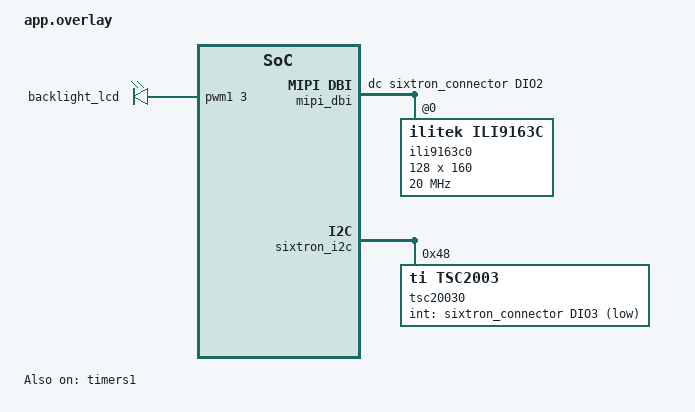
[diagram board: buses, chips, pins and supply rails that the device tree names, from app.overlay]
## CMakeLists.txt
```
# SPDX-License-Identifier: Apache-2.0

cmake_minimum_required(VERSION 3.20.0)

set(SHIELD zest_display_lcd)
find_package(Zephyr REQUIRED HINTS $ENV{ZEPHYR_BASE})
project(blinky)

target_sources(app PRIVATE src/main.c)
```

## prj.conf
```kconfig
CONFIG_MAIN_STACK_SIZE=4096
CONFIG_LV_Z_MEM_POOL_SIZE=16384

CONFIG_DISPLAY=y
CONFIG_DISPLAY_LOG_LEVEL_INF=y

CONFIG_GPIO=y
CONFIG_LOG=y
CONFIG_PWM=y
CONFIG_LVGL=y


# TOUCH SCREEN
CONFIG_INPUT=y
CONFIG_TSC2003_DEBOUNCE_MS=200
CONFIG_INPUT_GPIO_KEYS=n
CONFIG_INPUT_LOG_LEVEL_INF=y

# Floating point support
CONFIG_NEWLIB_LIBC=y
CONFIG_NEWLIB_LIBC_FLOAT_PRINTF=y
CONFIG_CBPRINTF_FP_SUPPORT=y
```

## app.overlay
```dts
/*
 * Copyright (c) 2024, CATIE
 * SPDX-License-Identifier: Apache-2.0
 */

 #include <zephyr/dt-bindings/input/input-event-codes.h>
 #include <zephyr/dt-bindings/lvgl/lvgl.h>
 #include <zephyr/dt-bindings/gpio/sixtron-header.h>
 #include <zephyr/dt-bindings/display/ili9xxx.h>
 #include <zephyr/dt-bindings/gpio/sixtron-header.h>
 
  &timers1 {
	 status = "okay";
	 st,prescaler = <1000>;
 };
 
 / {
	 aliases {
		 pwm-dev-0 = &pwm1;
	 };
	 pwm_devices {
		 status = "okay";
		 compatible = "pwm-leds";
 
		 backlight_lcd: pwm_dev_0 {
			 status = "okay";
			 pwms = <&pwm1 3 2000000 PWM_POLARITY_NORMAL>;
		 };
	 };
 };

	&sixtron_i2c {
	 status = "okay";
 
	 tsc20030: tsc2003@48 {  
        compatible = "ti,tsc2003";
        reg = <0x48>;  
        /* Define PENIRQ for touch detection if needed */
        int-gpios = <&sixtron_connector DIO3 GPIO_ACTIVE_LOW>;  /* D3 */ 
        screen_width = <128>;
        screen_height = <160>;
        inverted_x;
        inverted_y;
        swapped_x_y;
	 };
 };

 / {
	 chosen {
		 zephyr,display = &ili9163c0;
		 zephyr,touch = &tsc20030;
	 };
 
	 mipi_dbi {
		 compatible = "zephyr,mipi-dbi-spi";
		 dc-gpios = <&sixtron_connector DIO2 GPIO_ACTIVE_HIGH>;  /* Data/Command */
		 spi-dev = <&sixtron_spi>;
		 #address-cells = <1>;
		 #size-cells = <0>;
		 write-only;
 
		 ili9163c0: ili9163c@0 {
			 compatible = "ilitek,ili9163c";
			 mipi-max-frequency = <20000000>;  // 20MHz
			 reg = <0>;
			 pixel-format = <1>;
			 width = <128>;  
			 height = <160>;  
			 rotation = <90>;
			 madctl = [00];
			 frmctr1 = [08 08];
			 pgamctrl = [3F 25 1C 1E 20 12 2A 90 24 11 00 00 00 00 00];
			 ngamctrl = [20 20 20 20 05 00 15 A7 3D 18 25 2A 2B 2B 3A];
			 pwctrl1 = [0A 02];
			 pwctrl2 = [02];
			 vmctrl1 = [55 60];
			 vmctrl2 = [45];
			 gamset = [04];  
			 gamadj = [01];    
			 dispinv = [07];    
		 };
	 };
 };
```

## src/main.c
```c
/*
 * Copyright (c) 2024, CATIE
 * SPDX-License-Identifier: Apache-2.0
 */

#include <inttypes.h>
#include <lvgl.h>
#include <stdio.h>
#include <string.h>
#include <zephyr/device.h>
#include <zephyr/devicetree.h>
#include <zephyr/drivers/display.h>
#include <zephyr/drivers/gpio.h>
#include <zephyr/drivers/pwm.h>
#include <zephyr/input/input.h>
#include <zephyr/kernel.h>
#include <zephyr/logging/log.h>
#include <zephyr/sys/util.h>
#include <zephyr/sys/printk.h>
#include <math.h>

LOG_MODULE_REGISTER(calibration_app, LOG_LEVEL_INF);

#define REFRESH_RATE 10
#define BACKLIGHT_MAX_BRIGHTNESS 1000000
#define BACKLIGHT_MIN_BRIGHTNESS 0
#define CALIBRATION_POINTS 5
 
struct calibration_coeff {
    double a, b;
};

static struct calibration_coeff cal_coeff_x, cal_coeff_y;

struct calibration_points {
    int16_t raw_x[CALIBRATION_POINTS];
    int16_t raw_y[CALIBRATION_POINTS];
    int16_t screen_x[CALIBRATION_POINTS];
    int16_t screen_y[CALIBRATION_POINTS];
};

static struct calibration_points calib_points = {
    .screen_x = {64, 20, 108, 108, 20},
    .screen_y = {80, 20, 20, 140, 140}
};

static bool is_calibration_mode = false;
static int point_index = 0;
static lv_obj_t *hello_world_label;
static lv_obj_t *cross_label;

static int direction = 1;
static int period = 1000000;
static int increment = 10000;
static int ratio = BACKLIGHT_MAX_BRIGHTNESS;

static const struct pwm_dt_spec pwm_dev =
    PWM_DT_SPEC_GET(DT_NODELABEL(backlight_lcd));
static const struct device *const touch_dev =
    DEVICE_DT_GET(DT_NODELABEL(tsc20030));

static struct k_sem sync;
static struct {
    size_t x;
    size_t y;
    bool pressed;
} touch_point;

#define SW0_NODE DT_ALIAS(sw0)
#if !DT_NODE_HAS_STATUS(SW0_NODE, okay)
#error "Unsupported board: sw0 devicetree alias is not defined"
#endif

static const struct gpio_dt_spec button =
    GPIO_DT_SPEC_GET_OR(SW0_NODE, gpios, {0});
static struct gpio_callback button_cb_data;

static const struct device *const display_dev =
    DEVICE_DT_GET(DT_CHOSEN(zephyr_display));

static void draw_calibration_marker(int x, int y) {
    printk("MOUVE: X=[%d] Y=[%d]\n", x, y);
    lv_obj_align(cross_label, LV_ALIGN_TOP_LEFT, x, y);
}

void calculate_calibration_coefficients(void) {
    double sum_raw_x = 0, sum_raw_y = 0;
    double sum_screen_x = 0, sum_screen_y = 0;
    double sum_raw_x_screen_x = 0, sum_raw_y_screen_y = 0;
    double sum_raw_x_squared = 0, sum_raw_y_squared = 0;

    for (int i = 0; i < CALIBRATION_POINTS; i++) {
    sum_raw_x = sum_raw_x + calib_points.raw_x[i];
    sum_raw_y = sum_raw_y + calib_points.raw_y[i];
    sum_screen_x = sum_screen_x + calib_points.screen_x[i];
    sum_screen_y = sum_screen_y + calib_points.screen_y[i];
    sum_raw_x_screen_x = sum_raw_x_screen_x + calib_points.raw_x[i] * calib_points.screen_x[i];
    sum_raw_y_screen_y = sum_raw_y_screen_y + calib_points.raw_y[i] * calib_points.screen_y[i];
    sum_raw_x_squared = sum_raw_x_squared + calib_points.raw_x[i] * calib_points.raw_x[i];
    sum_raw_y_squared = sum_raw_y_squared + calib_points.raw_y[i] * calib_points.raw_y[i];
    }

    double denominator_x = CALIBRATION_POINTS * sum_raw_x_squared - sum_raw_x * sum_raw_x;
    double denominator_y = CALIBRATION_POINTS * sum_raw_y_squared - sum_raw_y * sum_raw_y;

    if (denominator_x == 0 || denominator_y == 0) {
        printk("Error : Retry calibration.\n");
        return;
    }

    cal_coeff_x.a = (CALIBRATION_POINTS * sum_raw_x_screen_x - sum_raw_x * sum_screen_x) / denominator_x;
    cal_coeff_x.b = (sum_screen_x * sum_raw_x_squared - sum_raw_x * sum_raw_x_screen_x) / denominator_x;

    cal_coeff_y.a = (CALIBRATION_POINTS * sum_raw_y_screen_y - sum_raw_y * sum_screen_y) / denominator_y;
    cal_coeff_y.b = (sum_screen_y * sum_raw_y_squared - sum_raw_y * sum_raw_y_screen_y) / denominator_y;
    printk("Calibration coefficients:\n");
    printk("ax = %f, bx = %f\n", cal_coeff_x.a, cal_coeff_x.b);
    printk("ay = %f, by = %f\n", cal_coeff_y.a, cal_coeff_y.b);
}

static void touch_event_callback(struct input_event *evt) {
    static int16_t raw_x, raw_y;

    if (evt->code == INPUT_ABS_X) raw_x = evt->value;
    if (evt->code == INPUT_ABS_Y) raw_y = evt->value;
    if (evt->code == INPUT_BTN_TOUCH) {
        touch_point.pressed = evt->value;
        if (touch_point.pressed) {
            touch_point.x = (int16_t)(cal_coeff_x.a * raw_x + cal_coeff_x.b);
            touch_point.y = (int16_t)(cal_coeff_y.a * raw_y + cal_coeff_y.b);
            printk("TOUCH: X=[%d] Y=[%d]\n", touch_point.x, touch_point.y);
            k_sem_give(&sync);
        }
    }
}

INPUT_CALLBACK_DEFINE(touch_dev, touch_event_callback);

static void button_pressed(const struct device *dev, struct gpio_callback *cb, uint32_t pins) {
    is_calibration_mode = true;
    touch_point.pressed = false;
    point_index = 0;
    cal_coeff_x.a = 1.0;
    cal_coeff_x.b = 0.0;
    cal_coeff_y.a = 1.0;
    cal_coeff_y.b = 0.0;
    lv_label_set_text(cross_label, "x");
    draw_calibration_marker(calib_points.screen_x[point_index], calib_points.screen_y[point_index]);
}

int setup_button(void) {
    int ret;
    if (!gpio_is_ready_dt(&button)) return -ENODEV;

    ret = gpio_pin_configure_dt(&button, GPIO_INPUT);
    if (ret != 0) return ret;

    ret = gpio_pin_interrupt_configure_dt(&button, GPIO_INT_EDGE_TO_ACTIVE);
    if (ret != 0) return ret;

    gpio_init_callback(&button_cb_data, button_pressed, BIT(button.pin));
    gpio_add_callback(button.port, &button_cb_data);
    return 0;
}

int setup_pwm(void) {
    if (!pwm_is_ready_dt(&pwm_dev)) return -ENODEV;
    return pwm_set_dt(&pwm_dev, period, BACKLIGHT_MAX_BRIGHTNESS);
}

void update_pwm(void) {
    if (ratio >= BACKLIGHT_MAX_BRIGHTNESS) direction = -1;
    else if (ratio <= BACKLIGHT_MIN_BRIGHTNESS) direction = 1;

    ratio += direction * increment;
    int err = pwm_set_dt(&pwm_dev, period, ratio);
    if (err < 0) LOG_ERR("ERROR! [%d]", err);
}

void display_message(const char *message) {
    lv_label_set_text(hello_world_label, message);
}

int main(void) {
    if (!device_is_ready(display_dev)) return 0;

    cross_label = lv_label_create(lv_scr_act());
    lv_label_set_text(cross_label, "");

    hello_world_label = lv_label_create(lv_scr_act());
    display_message("6TRON BY CATIE!");
    lv_obj_align(hello_world_label, LV_ALIGN_CENTER, 0, 0);

    display_blanking_off(display_dev);
    if (setup_pwm() < 0 || setup_button() < 0) return 0;

    k_sem_init(&sync, 0, 1);
    cal_coeff_x.a = cal_coeff_y.a = 1.0;
    cal_coeff_x.b = cal_coeff_y.b = 0.0;

     while (1) {
        if (is_calibration_mode) {
            lv_label_set_text(hello_world_label, "Calibration");

            k_sem_take(&sync, K_FOREVER);

            if (touch_point.pressed) {
              printk("Calibration [%d]\n", point_index);
              touch_point.pressed = false;
              calib_points.raw_x[point_index] = touch_point.x;
              calib_points.raw_y[point_index] = touch_point.y;
                point_index++;
                if (point_index >= CALIBRATION_POINTS) {
                    is_calibration_mode = false;
                    //lv_label_set_text(cross_label, "");
                    calculate_calibration_coefficients();
                    printk("Calibration done.\n");
                } else {
                    draw_calibration_marker(calib_points.screen_x[point_index], calib_points.screen_y[point_index]);
                }
            }
        } else {
            lv_label_set_text(hello_world_label, "6TRON BY CATIE!");
            if (touch_point.pressed) {
                touch_point.pressed = false;
                draw_calibration_marker(touch_point.x, touch_point.y);
            }
        }

        update_pwm();
        lv_task_handler();
        k_msleep(REFRESH_RATE);
    }
    return 0;
}
```
